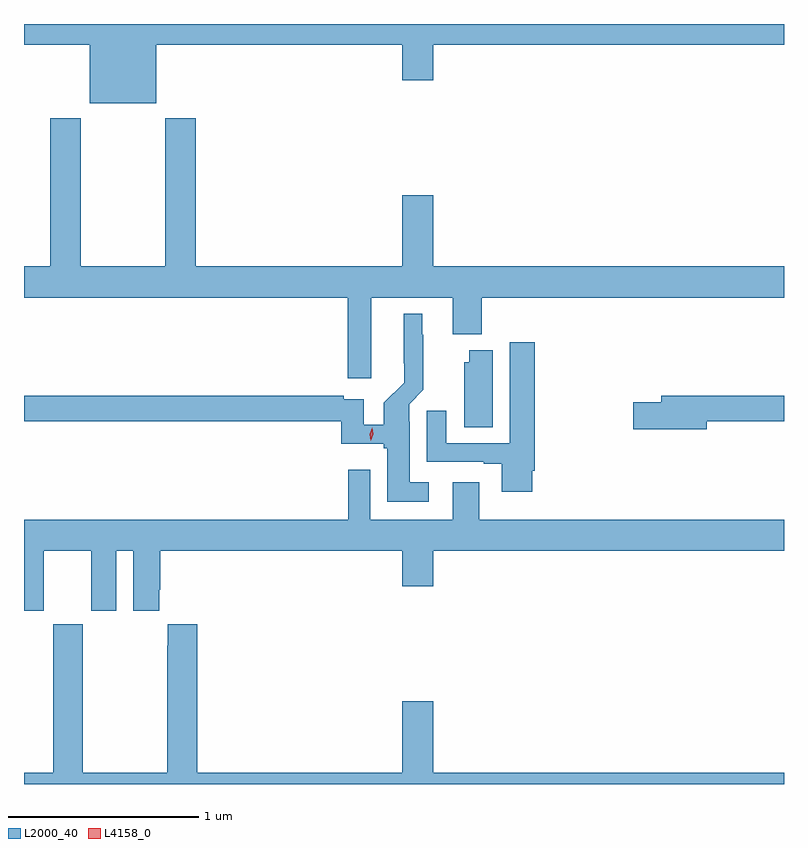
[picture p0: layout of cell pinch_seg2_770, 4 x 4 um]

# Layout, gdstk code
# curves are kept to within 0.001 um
import gdstk
lib = gdstk.Library(unit=1e-6, precision=1e-09)
def P(c, l, *ps):  # polygons
    for p in ps: c.add(gdstk.Polygon(p, *l))
L2000_40 = (2000, 40)
L4158_0 = (4158, 0)

pinch_seg2_770 = lib.new_cell('pinch_seg2_770')
P(pinch_seg2_770, L2000_40, [(643.234,632.984),(644.528,632.984),(644.528,632.796),(644.692,632.796),(644.692,632.984),(646.538,632.984),(646.538,633.092),(642.538,633.092),(642.538,632.984),(642.884,632.984),(642.884,632.675),(643.234,632.675)],
  [(643.442,632.596),(643.282,632.596),(643.282,631.816),(642.837,631.816),(642.837,632.596),(642.677,632.596),(642.677,631.816),(642.538,631.816),(642.538,631.652),(644.243,631.652),(644.243,631.227),(644.365,631.227),(644.365,631.652),(644.795,631.652),(644.795,631.46),(644.948,631.46),(644.948,631.652),(646.538,631.652),(646.538,631.816),(644.692,631.816),(644.692,632.191),(644.528,632.191),(644.528,631.816),(643.442,631.816)],
  [(644.668,630.679),(644.569,630.679),(644.569,630.998),(644.565,630.998),(644.565,631.092),(644.639,631.166),(644.639,631.457),(644.635,631.457),(644.635,631.567),(644.537,631.567),(644.538,631.204),(644.432,631.098),(644.432,630.984),(644.325,630.984),(644.325,631.116),(644.222,631.116),(644.222,631.136),(642.538,631.136),(642.538,631),(644.209,631),(644.209,630.884),(644.432,630.884),(644.432,630.858),(644.45,630.858),(644.45,630.578),(644.668,630.578)],
  [(645.214,630.742),(645.227,630.742),(645.227,631.417),(645.095,631.417),(645.095,630.885),(644.761,630.885),(644.761,631.057),(644.657,631.057),(644.657,630.789),(644.957,630.789),(644.957,630.777),(645.053,630.777),(645.053,630.63),(645.214,630.63)],
  [(645.004,631.375),(644.882,631.375),(644.882,631.311),(644.855,631.311),(644.855,630.97),(645.004,630.97)],
  [(646.132,631),(646.538,631),(646.538,631.136),(645.893,631.136),(645.893,631.1),(645.744,631.1),(645.744,630.958),(646.132,630.958)],
  [(642.643,630.32),(642.893,630.32),(642.893,630.003),(643.024,630.003),(643.024,630.32),(643.112,630.32),(643.112,630.003),(643.249,630.003),(643.249,630.115),(643.256,630.115),(643.256,630.32),(644.528,630.32),(644.528,630.132),(644.692,630.132),(644.692,630.32),(646.538,630.32),(646.538,630.484),(644.935,630.484),(644.935,630.679),(644.795,630.679),(644.795,630.484),(644.361,630.484),(644.361,630.745),(644.245,630.745),(644.245,630.484),(642.538,630.484),(642.538,630.003),(642.643,630.003)],
  [(646.538,629.152),(644.692,629.152),(644.692,629.527),(644.528,629.527),(644.528,629.152),(643.451,629.152),(643.451,629.932),(643.295,629.932),(643.295,629.819),(643.291,629.819),(643.291,629.152),(642.846,629.152),(642.846,629.932),(642.691,629.932),(642.691,629.152),(642.538,629.152),(642.538,629.092),(646.538,629.092)])
P(pinch_seg2_770, L4158_0, [(644.363,630.898),(644.358,630.934),(644.371,630.967),(644.371,630.968),(644.372,630.967),(644.377,630.932),(644.364,630.898),(644.364,630.898)])

lib.write_gds('pinch_seg2_770.gds')
